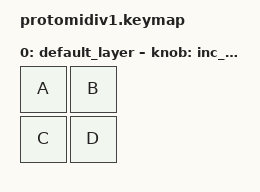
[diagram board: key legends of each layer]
#include <behaviors.dtsi>
#include <dt-bindings/zmk/keys.h>

/ {
    behaviors {
        inc_dec_vol: inc_dec_vol {
            compatible = "zmk,behavior-inc-dec";
            bindings = <C_VOL_UP>, <C_VOL_DOWN>;
        };
    };

    keymap {
        compatible = "zmk,keymap";

        default_layer {
            bindings = <
                &kp A    &kp B
                &kp C    &kp D
            >;

            sensor-bindings = <&inc_dec_vol>;
        };
    };
};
